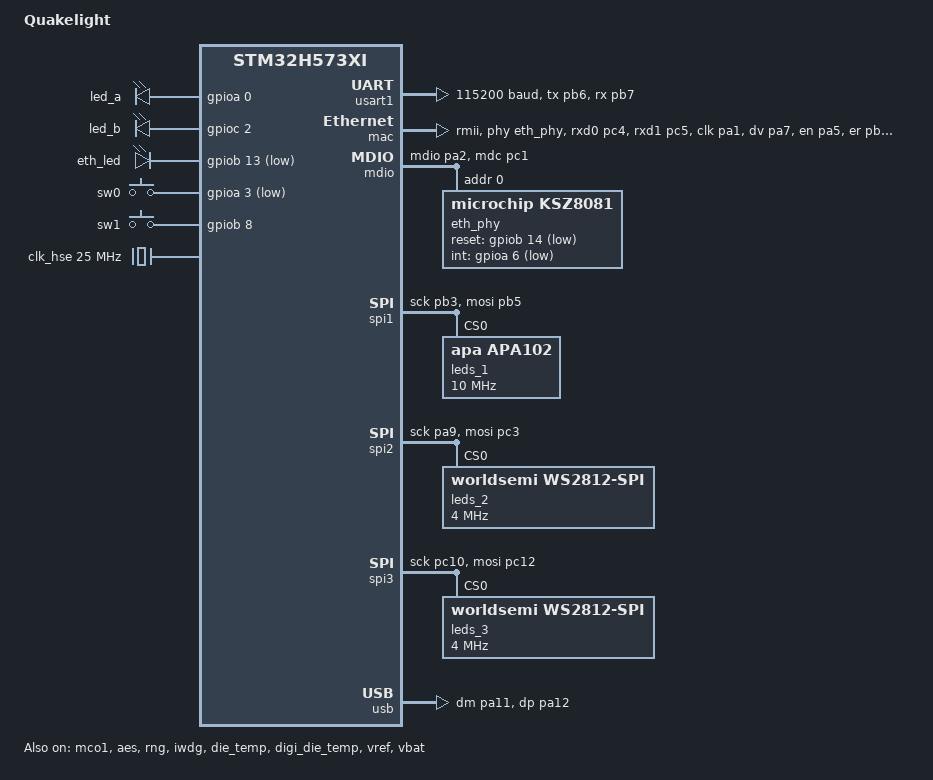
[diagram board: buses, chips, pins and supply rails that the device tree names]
/dts-v1/;
#include <st/h5/stm32h573Xi.dtsi>
#include <st/h5/stm32h573rivx-pinctrl.dtsi>
#include <zephyr/dt-bindings/input/input-event-codes.h>
#include <zephyr/dt-bindings/led/led.h>

/ {
	model = "Quakelight";
	compatible = "balto,quakelight";

	chosen {
		zephyr,console = &usart1;
		zephyr,shell-uart = &usart1;
		zephyr,sram = &sram1;
		zephyr,flash = &flash0;
	};

	leds {
		compatible = "gpio-leds";

		led_a: led_a {
			gpios = <&gpioa 0 GPIO_ACTIVE_HIGH>;
		};

		led_b: led_b {
			gpios = <&gpioc 2 GPIO_ACTIVE_HIGH>;
		};

		eth_led: eth_led_0 {
			gpios = <&gpiob 13 GPIO_ACTIVE_LOW>;
		};
	};

	gpio_keys {
		compatible = "gpio-keys";

		sw0 {
			gpios = <&gpioa 3 (GPIO_ACTIVE_LOW | GPIO_PULL_UP)>;
			zephyr,code = <INPUT_KEY_0>;
		};

		sw1 {
			gpios = <&gpiob 8 GPIO_ACTIVE_HIGH>;
			zephyr,code = <INPUT_KEY_1>;
		};
	};

	aliases {
		led0 = &led_a;
		watchdog0 = &iwdg;
		die-temp0 = &die_temp;
		die-temp1 = &digi_die_temp;
		volt-sensor0 = &vref;
		volt-sensor1 = &vbat;
	};
};

&clk_hsi48 {
	status = "okay";
};

&clk_hse {
	clock-frequency = <DT_FREQ_M(25)>;
	status = "okay";
};

&pll {
	div-m = <5>;
	mul-n = <96>;
	div-p = <2>;
	div-q = <6>;
	div-r = <2>;
	clocks = <&clk_hse>;
	status = "okay";
};

&rcc {
	clocks = <&pll>;
	clock-frequency = <DT_FREQ_M(240)>;
	ahb-prescaler = <1>;
	apb1-prescaler = <2>;
	apb2-prescaler = <1>;
	apb3-prescaler = <1>;
};

&usart1 {
	pinctrl-0 = <&usart1_tx_pb6 &usart1_rx_pb7>;
	pinctrl-names = "default";
	current-speed = <115200>;
	status = "okay";
};

&mco1 {
	clocks = <&rcc STM32_SRC_HSE MCO1_SEL(2)>;
	prescaler = <MCO1_PRE(MCO_PRE_DIV_1)>;
	pinctrl-0 = <&rcc_mco_1_pa8>;
	pinctrl-names = "default";
	status = "okay";
};

&aes {
	status = "okay";
};

&rng {
	status = "okay";
};

&mac {
	status = "okay";
	pinctrl-0 = <&eth_rxd0_pc4
		     &eth_rxd1_pc5
		     &eth_ref_clk_pa1
		     &eth_crs_dv_pa7
		     &eth_tx_en_pa5
		     &eth_rx_er_pb10
		     &eth_txd0_pb12
		     &eth_txd1_pb15>;
	pinctrl-names = "default";
	phy-connection-type = "rmii";
	phy-handle = <&eth_phy>;
};

&mdio {
	status = "okay";
	pinctrl-0 = <&eth_mdio_pa2 &eth_mdc_pc1>;
	pinctrl-names = "default";

	eth_phy: ethernet-phy@0 {
		compatible = "microchip,ksz8081";
		reg = <0x00>;
		reset-gpios = <&gpiob 14 GPIO_ACTIVE_LOW>;
		int-gpios = <&gpioa 6 GPIO_ACTIVE_LOW>;
		microchip,interface-type = "rmii-25MHz";
	};
};

&iwdg {
	status = "okay";
};

&gpdma1 {
	status = "okay";
};

&gpdma2 {
	status = "okay";
};

&spi1 {
	pinctrl-0 = <&spi1_sck_pb3 &spi1_mosi_pb5>;
	pinctrl-names = "default";
	status = "okay";

	dmas = <&gpdma1 0 7 STM32_DMA_PERIPH_TX>,
	       <&gpdma1 1 6 STM32_DMA_PERIPH_RX>;
	dma-names = "tx", "rx";

	leds_1: apa102@0 {
		compatible = "apa,apa102";
		reg = <0>;
		spi-max-frequency = <DT_FREQ_M(10)>;
		chain-length = <60>;
		color-mapping = <LED_COLOR_ID_BLUE
				 LED_COLOR_ID_GREEN
				 LED_COLOR_ID_RED>;
	};
};

&spi2 {
	pinctrl-0 = <&spi2_sck_pa9 &spi2_mosi_pc3>;
	pinctrl-names = "default";
	status = "okay";

	dmas = <&gpdma1 2 9 STM32_DMA_PERIPH_TX>,
	       <&gpdma1 3 8 STM32_DMA_PERIPH_RX>;
	dma-names = "tx", "rx";

	leds_2: ws2812@0 {
		compatible = "worldsemi,ws2812-spi";

		reg = <0>;
		spi-max-frequency = <DT_FREQ_M(4)>;

		chain-length = <370>;
		color-mapping = <LED_COLOR_ID_GREEN
				 LED_COLOR_ID_RED
				 LED_COLOR_ID_BLUE>;
		spi-one-frame = <0x70>;
		spi-zero-frame = <0x40>;
	};
};

&spi3 {
	pinctrl-0 = <&spi3_sck_pc10 &spi3_mosi_pc12>;
	pinctrl-names = "default";
	status = "okay";

	dmas = <&gpdma1 4 11 STM32_DMA_PERIPH_TX>,
	       <&gpdma1 5 10 STM32_DMA_PERIPH_RX>;
	dma-names = "tx", "rx";

	leds_3: ws2812@0 {
		compatible = "worldsemi,ws2812-spi";

		reg = <0>;
		spi-max-frequency = <DT_FREQ_M(4)>;

		chain-length = <370>;
		color-mapping = <LED_COLOR_ID_GREEN
				 LED_COLOR_ID_RED
				 LED_COLOR_ID_BLUE>;
		spi-one-frame = <0x70>;
		spi-zero-frame = <0x40>;
	};
};

zephyr_udc0: &usb {
	pinctrl-0 = <&usb_dm_pa11 &usb_dp_pa12>;
	pinctrl-names = "default";
	status = "okay";
};

&die_temp {
	status = "okay";
};

&digi_die_temp {
	status = "okay";
};

&vref {
	status = "okay";
};

&vbat {
	status = "okay";
};
